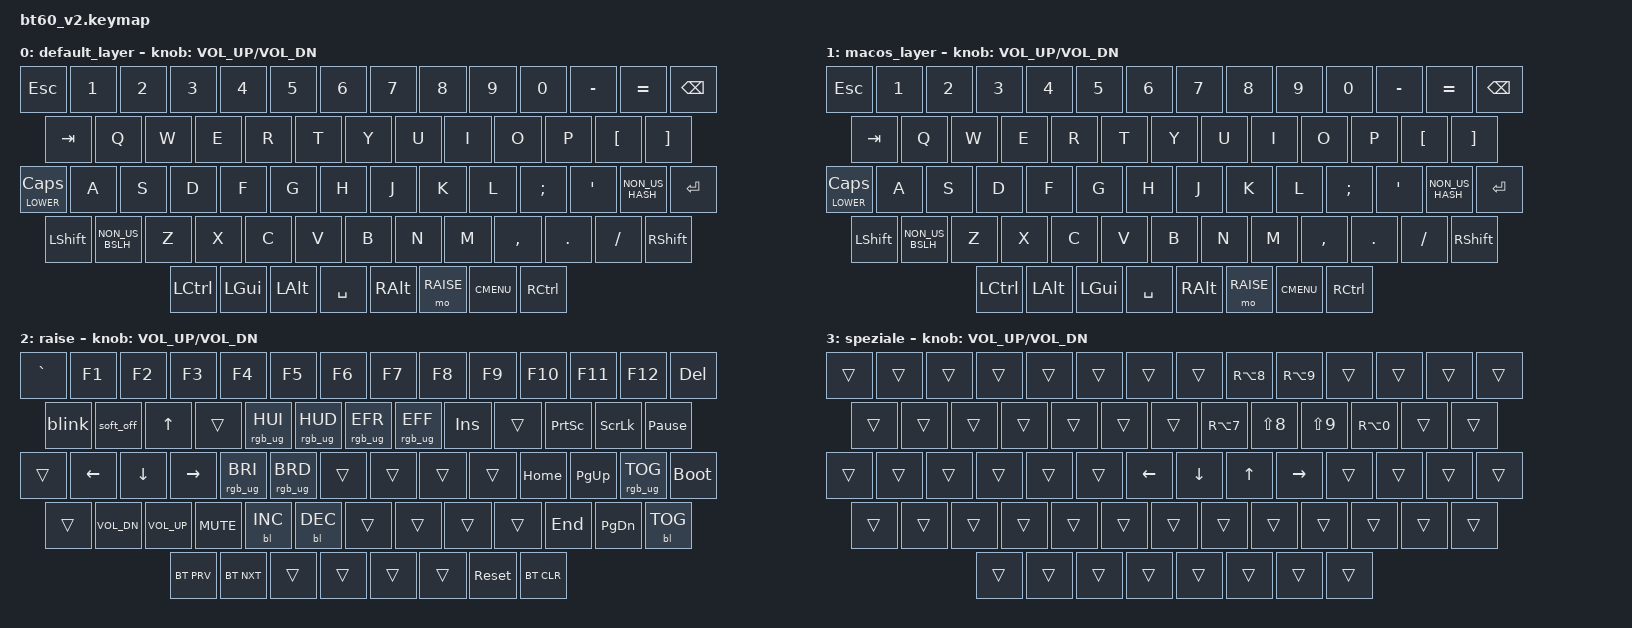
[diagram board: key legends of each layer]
#include <behaviors.dtsi>
#include <dt-bindings/zmk/keys.h>
#include <dt-bindings/zmk/bt.h>
#include <dt-bindings/zmk/rgb.h>
#include <dt-bindings/zmk/backlight.h>

#define WIN 0
#define MAC 1
#define RAISE 2
#define LOWER 3

&soft_off {
  hold-time-ms = <5000>; // Only turn off it the key is held for 5 seconds or longer.
};

/ {
  chosen {
    zmk,matrix-transform = &iso_transform;
  };

  macros {
    blink: blink {
    compatible = "zmk,behavior-macro";
    #binding-cells = <0>;
    wait-ms = <150>;
    bindings
      = <&tog MAC>
      , <&bl BL_TOG>
      , <&bl BL_TOG>
      , <&bl BL_TOG>
      , <&bl BL_TOG>
      , <&bl BL_TOG>
      , <&bl BL_TOG>
      ;
    };
  };

  keymap {
    compatible = "zmk,keymap";
    default_layer {
        // ------------------------------------------------------------------------------------------
        // | ESC |  1  |  2  |  3  |  4  |  5  |  6  |  7  |  8  |  9  |  0  |  -  |  =  |    BKSP   |
        // |   TAB  |  Q  |  W  |  E  |  R  |  T  |  Y  |  U  |  I  |  O  |  P  |  [  |  ]  |        |
        // |  CAPS   |  A  |  S  |  D  |  F  |  G  |  H  |  J  |  K  |  L  |  ;  |  '  |  #  | ENTER |
        // | SHIFT |  \  |  Z  |  X  |  C  |  V  |  B  |  N  |  M  |  ,  |  .  | /   |     SHIFT     |
        // |  CTL  |  WIN  |  ALT  |            SPACE               |  ALT |  1    |  MENU   |  CTRL |
        // ------------------------------------------------------------------------------------------
      bindings = <
        &kp ESC &kp N1 &kp N2 &kp N3 &kp N4 &kp N5 &kp N6 &kp N7 &kp  N8   &kp  N9 &kp  N0  &kp MINUS &kp EQUAL &kp BSPC
        &kp TAB  &kp Q  &kp W  &kp E  &kp R  &kp T  &kp Y  &kp U  &kp  I    &kp  O  &kp  P   &kp LBKT &kp RBKT
        &lt LOWER CAPS  &kp A  &kp S  &kp D  &kp F  &kp G  &kp H  &kp J  &kp  K    &kp  L  &kp SEMI &kp SQT &kp NON_US_HASH  &kp RET
        &kp LSHFT &kp NON_US_BSLH &kp Z  &kp X  &kp C  &kp V  &kp B  &kp N  &kp M  &kp COMMA &kp DOT &kp FSLH         &kp RSHFT
        &kp LCTRL &kp LGUI &kp LALT            &kp SPACE                          &kp RALT  &mo RAISE &kp K_CMENU    &kp RCTRL
      >;
      sensor-bindings = <&inc_dec_kp C_VOL_UP C_VOL_DN>;
    };
    macos_layer {
        // ------------------------------------------------------------------------------------------
        // | ESC |  1  |  2  |  3  |  4  |  5  |  6  |  7  |  8  |  9  |  0  |  -  |  =  |    BKSP   |
        // |   TAB  |  Q  |  W  |  E  |  R  |  T  |  Y  |  U  |  I  |  O  |  P  |  [  |  ]  |        |
        // |  CAPS   |  A  |  S  |  D  |  F  |  G  |  H  |  J  |  K  |  L  |  ;  |  '  |  #  | ENTER |
        // | SHIFT |  \  |  Z  |  X  |  C  |  V  |  B  |  N  |  M  |  ,  |  .  | /   |     SHIFT     |
        // |  CTL  |  WIN  |  ALT  |            SPACE               |  ALT |  1    |  MENU   |  CTRL |
        // ------------------------------------------------------------------------------------------
      bindings = <
        &kp ESC &kp N1 &kp N2 &kp N3 &kp N4 &kp N5 &kp N6 &kp N7 &kp  N8   &kp  N9 &kp  N0  &kp MINUS &kp EQUAL &kp BSPC
        &kp TAB  &kp Q  &kp W  &kp E  &kp R  &kp T  &kp Y  &kp U  &kp  I    &kp  O  &kp  P   &kp LBKT &kp RBKT
        &lt LOWER CAPS  &kp A  &kp S  &kp D  &kp F  &kp G  &kp H  &kp J  &kp  K    &kp  L  &kp SEMI &kp SQT &kp NON_US_HASH  &kp RET
        &kp LSHFT &kp NON_US_BSLH &kp Z  &kp X  &kp C  &kp V  &kp B  &kp N  &kp M  &kp COMMA &kp DOT &kp FSLH         &kp RSHFT
        &kp LCTRL &kp LALT &kp LGUI            &kp SPACE                          &kp RALT  &mo RAISE &kp K_CMENU    &kp RCTRL
      >;
      sensor-bindings = <&inc_dec_kp C_VOL_UP C_VOL_DN>;
    };
    raise {
        // ------------------------------------------------------------------------------------------
        // |GRAVE| F1  | F2  | F3  | F4  | F5  | F6  | F7  | F8  | F9  | F10 | F11 | F12 |    DEL    |
        // | TAB   |  Q  | UP  |  E  | HUI | HUD | EFR | EFF | INS |  O  |PSCRN| SLCK| P_B |         |
        // | CAPS   | LEFT| DOWN|RIGHT| BRI | BRD |  H  |  J  |  K  |  L  | HOME| PGUP|RGB_TOG| BOOT |
        // | SHIFT |VOLDN|VOLUP| MUTE|BLINC|BLDEC|  B  |  N  |  M  |  ,  | END | PGDN |    BL_TOG    |
        // | BT_PRV| BT_NXT|  ALT  |            SPACE               |  ALT |  1    |  RESET  |BT_CLR |
        // ------------------------------------------------------------------------------------------
      bindings = <
        &kp GRAVE &kp F1 &kp F2 &kp F3 &kp F4 &kp F5 &kp F6 &kp F7 &kp F8 &kp F9 &kp F10 &kp F11 &kp F12 &kp DEL
        &blink &soft_off &kp UP &trans &rgb_ug RGB_HUI &rgb_ug RGB_HUD &rgb_ug RGB_EFR &rgb_ug RGB_EFF &kp INS &trans &kp PSCRN &kp SLCK &kp PAUSE_BREAK
        &trans    &kp LEFT &kp DOWN &kp RIGHT &rgb_ug RGB_BRI &rgb_ug RGB_BRD &trans &trans &trans &trans &kp HOME  &kp PG_UP &rgb_ug RGB_TOG &bootloader
        &trans &kp C_VOL_DN &kp C_VOL_UP &kp C_MUTE &bl BL_INC &bl BL_DEC &trans &trans &trans &trans &kp END &kp PG_DN  &bl BL_TOG
        &bt BT_PRV &bt BT_NXT  &trans              &trans                            &trans   &trans   &sys_reset &bt BT_CLR
      >;
      sensor-bindings = <&inc_dec_kp C_VOL_UP C_VOL_DN>;
    };
    speziale {
        // ------------------------------------------------------------------------------------------
        // | ESC |  1  |  2  |  3  |  4  |  5  |  6  |  7  |  8  |  9  |  0  |  -  |  =  |    BKSP   |
        // |   TAB  |  Q  |  W  |  E  |  R  |  T  |  Y  |  U  |  I  |  O  |  P  |  [  |  ]  |        |
        // |  CAPS   |  A  |  S  |  D  |  F  |  G  | LEFT| DOWN| UP | RIGHT|  ;  |  '  |  #  | ENTER |
        // | SHIFT |  \  |  Z  |  X  |  C  |  V  |  B  |  N  |  M  |  ,  |  .  | /   |     SHIFT     |
        // |  CTL  |  WIN  |  ALT  |            SPACE               |  ALT |  1    |  MENU   |  CTRL |
        // ------------------------------------------------------------------------------------------
      bindings = <
        &trans &trans &trans &trans &trans &trans &trans &trans &kp RA(N8) &kp RA(N9) &trans &trans &trans &trans
        &trans &trans  &trans  &trans  &trans  &trans &trans &kp RA(N7) &kp LS(N8) &kp LS(N9) &kp RA(N0)  &trans &trans
        &trans &trans  &trans  &trans  &trans  &trans  &kp LEFT &kp DOWN &kp UP &kp RIGHT &trans &trans &trans &trans
        &trans &trans &trans  &trans  &trans  &trans  &trans  &trans  &trans  &trans &trans &trans  &trans
        &trans &trans &trans            &trans                          &trans  &trans &trans    &trans
      >;
      sensor-bindings = <&inc_dec_kp C_VOL_UP C_VOL_DN>;
    };
  };
};
